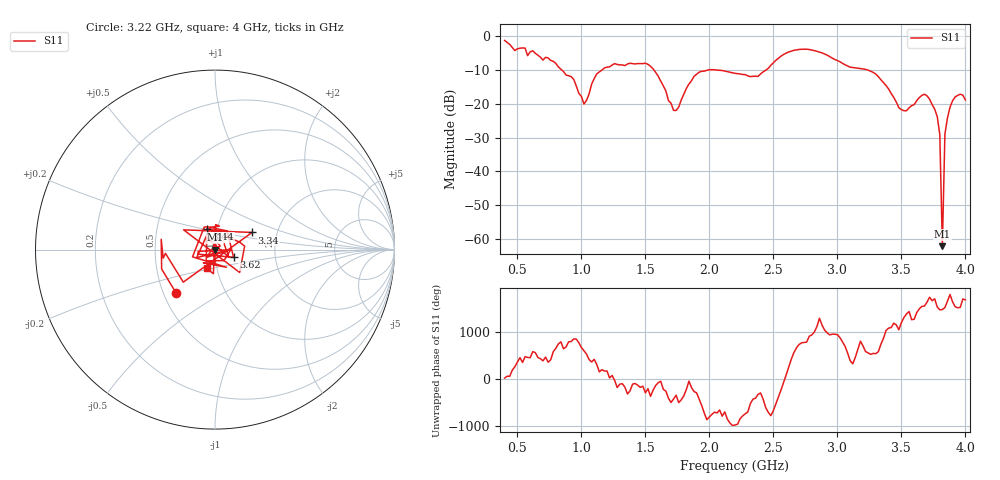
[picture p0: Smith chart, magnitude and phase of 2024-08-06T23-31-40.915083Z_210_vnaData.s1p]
!Created with skrf (http://scikit-rf.org).
# Hz S RI R 50.0
!freq ReS11 ImS11
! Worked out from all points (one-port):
!   181 points, 400 MHz to 4 GHz, reference 50 ohm
!   lowest |S11| = -62.2 dB at 3.82 GHz (marker M1), VSWR 1.00, Z = 50.1 + j0.0517 ohm
!   |S11| at or under -10 dB: 1.568 GHz to 1.985 GHz (417.3 MHz wide, 23.5 % of centre); 2.065 GHz to 2.441 GHz (375.7 MHz wide, 16.7 % of centre); 3.24 GHz to end of sweep (the widest 3 of 4)
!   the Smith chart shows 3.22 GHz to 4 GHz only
!   S11 on the Smith chart (normalised r, x): 3.22 GHz: 0.58, -0.31; 3.34 GHz: 1.48, +0.30; 3.44 GHz: 0.89, +0.21; 3.62 GHz: 1.23, -0.11; 4 GHz: 0.89, -0.19
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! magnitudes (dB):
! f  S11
! 400 MHz  -1.2
! 860 MHz  -10.4
! 940 MHz  -12.7
! 1.02 GHz  -20.0
! 1.12 GHz  -11.1
! 1.3 GHz  -8.4
! 1.52 GHz  -8.3
! 1.72 GHz  -21.9
! 1.76 GHz  -21.0
! 1.92 GHz  -10.6
! 2.2 GHz  -10.9
! 2.38 GHz  -11.9
! 2.66 GHz  -4.1
! 3.1 GHz  -9.1
! 3.22 GHz  -9.8
! 3.34 GHz  -12.9
! 3.44 GHz  -18.1
! 3.5 GHz  -21.7
! 3.56 GHz  -21.2
! 3.62 GHz  -19.0
! 3.7 GHz  -17.6
! 3.78 GHz  -23.7
! 3.8 GHz  -29.1
! 3.82 GHz  -62.2
! 3.84 GHz  -29.0
! 3.86 GHz  -24.1
! 3.92 GHz  -18.0
! 4 GHz  -18.8
